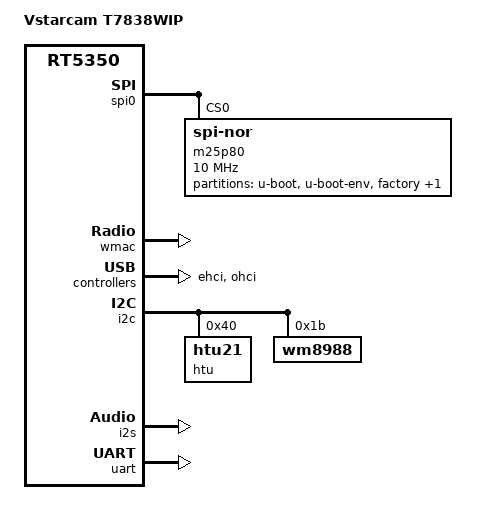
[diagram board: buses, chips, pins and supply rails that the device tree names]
/dts-v1/;

#include "rt5350.dtsi"

/ {
    compatible = "vstarcam,rt5350f-t7838wip", "ralink,rt5350-soc";
    model = "Vstarcam T7838WIP";

    aliases {
        serial0 = &uartlite;
        serial1 = &uart;
    };
};


&spi0 {
    status = "okay";

    m25p80@0 {
        #address-cells = <1>;
        #size-cells = <1>;
        compatible = "jedec,spi-nor";
        reg = <0>;
        spi-max-frequency = <10000000>;

        partition@0 {
            label = "u-boot";
            reg = <0x0 0x30000>;
            read-only;
        };

        partition@30000 {
            label = "u-boot-env";
            reg = <0x30000 0x10000>;
            read-only;
        };

        factory: partition@40000 {
            label = "factory";
            reg = <0x40000 0x10000>;
            read-only;
        };

        partition@50000 {
            label = "firmware";
            reg = <0x50000 0x7b0000>;
        };
    };
};

&gpio1 {
    status = "okay";
};

&pinctrl {
    state_default: pinctrl0 {
        gpio {
            ralink,group = "led";
            // ralink,group = "i2c", "led";
            // ralink,group = "jtag", "led";
            ralink,function = "gpio";
        };
        i2s {
            ralink,group = "uartf";
            ralink,function = "pcm i2s";
        };
    };
};

&ethernet {
    mtd-mac-address = <&factory 0x4>;
};

&esw {
    mediatek,portmap = <0x2f>;
    mediatek,led_polarity = <0x17>;
};

&wmac {
    ralink,mtd-eeprom = <&factory 0>;
    ralink,led-polarity = <1>;
};

&ehci {
    status = "okay";
};

&ohci {
    status = "okay";
};

&i2c {
    status = "okay";

    htu: htu21@40 {
        compatible = "htu21";
        reg = <0x40>;
    };

    wm8988: wm8988@1b {
        compatible = "wm8988";
        reg = <0x1b>;
    };
};

&i2s {
    status = "okay";
};

&gdma {
    status = "okay";
};

&uart {
    status = "okay";
};

/*
 * Audio:
 * Audio Multiplexer
 * I2C mit Wolfson WM8988
 */
/ {
    sound {
        compatible = "ralink,rt5350f-wm8988-machine";
        ralink,platform = <&i2s>;
        ralink,audio-codec = <&wm8988>;
        audio-routing =
            "Headphone", "LOUT1",
            "Headphone", "ROUT1",
            "Ext Spk", "LOUT2",
            "Ext Spk", "ROUT2",
            "LINPUT1", "Mic",
            "RINPUT1", "Mic";
    };
};
